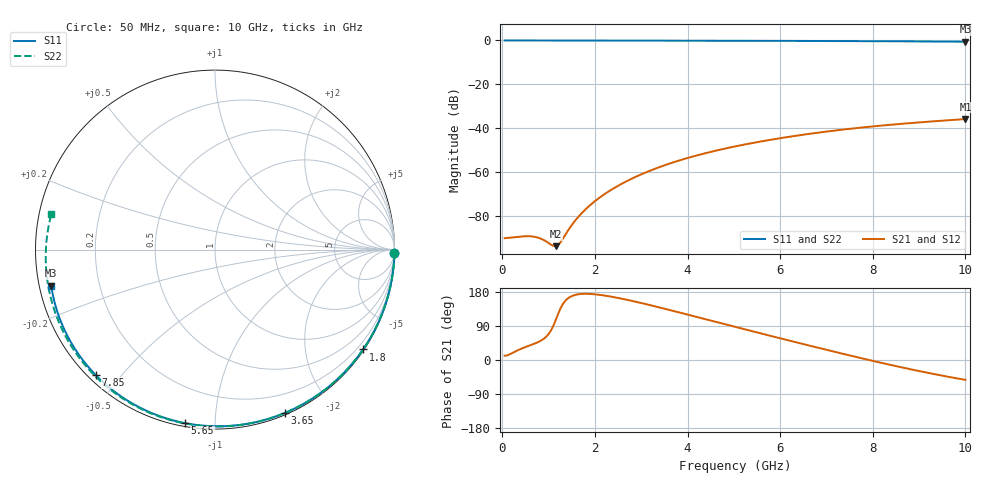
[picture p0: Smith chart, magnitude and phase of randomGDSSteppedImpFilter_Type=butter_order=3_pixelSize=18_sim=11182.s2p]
! freq	dB(S11)	phase(S11)	dB(S12)	phase(S12)
!  dB(S21)	phase(S21)	dB(S22)	phase(S22)
!S-par simulation data
#  GHz  S  DB  R 50
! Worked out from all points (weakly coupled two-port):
!   200 points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, 50 MHz to 10 GHz, reference 50 ohm
!   highest |S21| = -35.89 dB at 10 GHz (marker M1); lowest = -93.9 dB at 1.15 GHz (marker M2)
!   lowest |S11| = -0.6 dB at 10 GHz (marker M3), VSWR 29.39, Z = 1.72 - j5.43 ohm
!   |S11| at or under -10 dB: nowhere
!   |S22| runs from -0.6 to 0.0 dB; largest |S21 - S12| = 0
!   S11 on the Smith chart (normalised r, x): 50 MHz: open; 1.8 GHz: 0.03, -3.27; 3.65 GHz: 0.02, -1.51; 5.65 GHz: 0.02, -0.84; 7.85 GHz: 0.02, -0.43; 10 GHz: 0.03, -0.11
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0.05  -0.00 -1.0  -90.30 11.4  -90.30 11.4  -0.00 -1.1
0.6  -0.01 -11.5  -89.42 38.8  -89.42 38.8  -0.01 -13.5
1.15  -0.03 -21.9  -93.95 104.1  -93.95 104.1  -0.03 -25.6
1.65  -0.04 -31.2  -80.36 173.6  -80.36 173.6  -0.05 -36.5
1.75  -0.04 -33.1  -78.10 174.6  -78.10 174.6  -0.05 -38.6
1.8  -0.04 -34.0  -77.07 174.7  -77.07 174.7  -0.05 -39.7
2.1  -0.05 -39.5  -71.78 171.9  -71.78 171.9  -0.06 -46.1
2.3  -0.05 -43.1  -68.90 168.3  -68.90 168.3  -0.06 -50.3
2.5  -0.06 -46.7  -66.37 163.7  -66.37 163.7  -0.07 -54.5
2.9  -0.07 -53.9  -62.09 153.2  -62.09 153.2  -0.08 -62.7
3.4  -0.08 -62.6  -57.78 138.5  -57.78 138.5  -0.10 -72.7
3.65  -0.09 -66.9  -55.95 130.8  -55.95 130.8  -0.10 -77.6
4.35  -0.11 -78.8  -51.67 108.8  -51.67 108.8  -0.13 -91.1
5.05  -0.14 -90.2  -48.29 86.7  -48.29 86.7  -0.16 -104.1
5.65  -0.17 -99.8  -45.89 68.0  -45.89 68.0  -0.19 -114.9
6.15  -0.19 -107.6  -44.14 52.7  -44.14 52.7  -0.22 -123.7
6.7  -0.23 -116.1  -42.45 35.9  -42.45 35.9  -0.26 -133.4
7.3  -0.27 -125.2  -40.84 18.0  -40.84 18.0  -0.30 -143.8
7.85  -0.32 -133.6  -39.57 2.0  -39.57 2.0  -0.35 -153.3
8.35  -0.36 -141.2  -38.56 -12.1  -38.56 -12.1  -0.40 -162.1
9.2  -0.46 -154.5  -37.10 -34.2  -37.10 -34.2  -0.50 -177.3
10  -0.59 -167.6  -35.89 -52.5  -35.89 -52.5  -0.60 167.7
